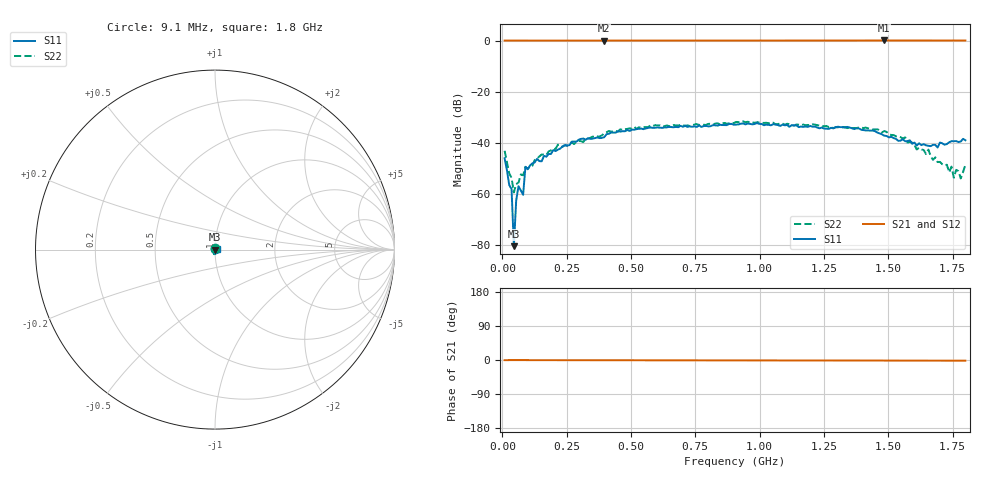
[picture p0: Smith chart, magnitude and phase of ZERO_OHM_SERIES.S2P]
!Agilent Technologies,E5071C,MY46101151,A.11.02
!Date: Sun Sep 24 15:50:45 2017
!Data & Calibration Information:
!Freq	S11:SOLT2(ON)	S21:SOLT2(ON)	S12:SOLT2(ON)	S22:SOLT2(ON)
!PortZ  Port1:50+j0  Port2:50+j0
!Above PortZ is port z conversion or system Z0 setting when saving the data.
!When reading, reference impedance value at option line is always used.
# Hz S dB R 50
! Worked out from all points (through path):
!   200 points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, 9.1 MHz to 1.8 GHz, reference 50 ohm
!   highest |S21| = 0.04 dB at 1.485 GHz (marker M1); lowest = 0.0 dB at 396.1 MHz (marker M2)
!   lowest |S11| = -80.4 dB at 45.1 MHz (marker M3), VSWR 1.00, Z = 50 - j0.00922 ohm
!   |S11| at or under -10 dB: start of sweep to end of sweep
!   |S22| runs from -59.4 to -31.6 dB; largest |S21 - S12| = 0.0018
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9099500  -46.02 94.0  0.00 -0.4  0.00 -0.4  -43.09 92.2
3.6098e7  -58.07 -136.3  -0.00 -0.1  -0.00 -0.2  -53.70 66.7
4.50975e7  -80.40 -74.9  -0.00 -0.2  -0.00 -0.2  -59.40 36.9
5.4097e7  -62.53 157.6  -0.00 -0.3  0.00 -0.2  -56.18 -64.6
6.30965e7  -56.95 -135.8  -0.00 -0.2  0.00 -0.2  -55.51 -95.2
8.10955e7  -60.32 -90.7  -0.00 -0.3  -0.00 -0.3  -52.69 -110.1
9.0095e7  -49.35 -96.3  -0.00 -0.3  0.00 -0.3  -49.44 -106.8
2.16088e8  -42.67 -83.9  -0.01 -0.4  0.00 -0.4  -40.69 -95.2
3.150825e8  -38.32 -88.3  -0.00 -0.5  0.00 -0.5  -39.68 -94.6
3.96078e8  -37.82 -84.6  -0.02 -0.7  -0.01 -0.7  -36.28 -89.0
6.12066e8  -34.06 -91.0  0.00 -0.8  0.01 -0.8  -33.12 -96.2
9.090495e8  -32.83 -88.3  0.01 -1.0  0.02 -1.0  -31.82 -96.6
1.206033e9  -33.70 -86.2  0.03 -1.3  0.03 -1.3  -32.80 -104.4
1.485018e9  -37.20 -77.0  0.04 -1.5  0.05 -1.5  -35.37 -107.9
1.503016e9  -37.88 -66.1  0.04 -1.5  0.04 -1.6  -36.54 -113.4
1.656008e9  -41.11 -28.0  0.03 -1.7  0.03 -1.7  -42.64 -124.4
1.737004e9  -39.78 6.5  0.02 -1.7  0.03 -1.7  -51.55 -177.5
1.746003e9  -39.35 10.7  0.02 -1.7  0.03 -1.8  -49.29 -172.9
1.755002e9  -39.33 12.3  0.03 -1.7  0.03 -1.8  -53.67 -170.8
1.764002e9  -39.32 16.0  0.02 -1.7  0.03 -1.8  -50.55 170.5
1.782001e9  -39.46 10.6  0.03 -1.8  0.03 -1.8  -53.92 138.3
1.8e9  -38.98 14.6  0.02 -1.8  0.03 -1.8  -48.60 109.5
